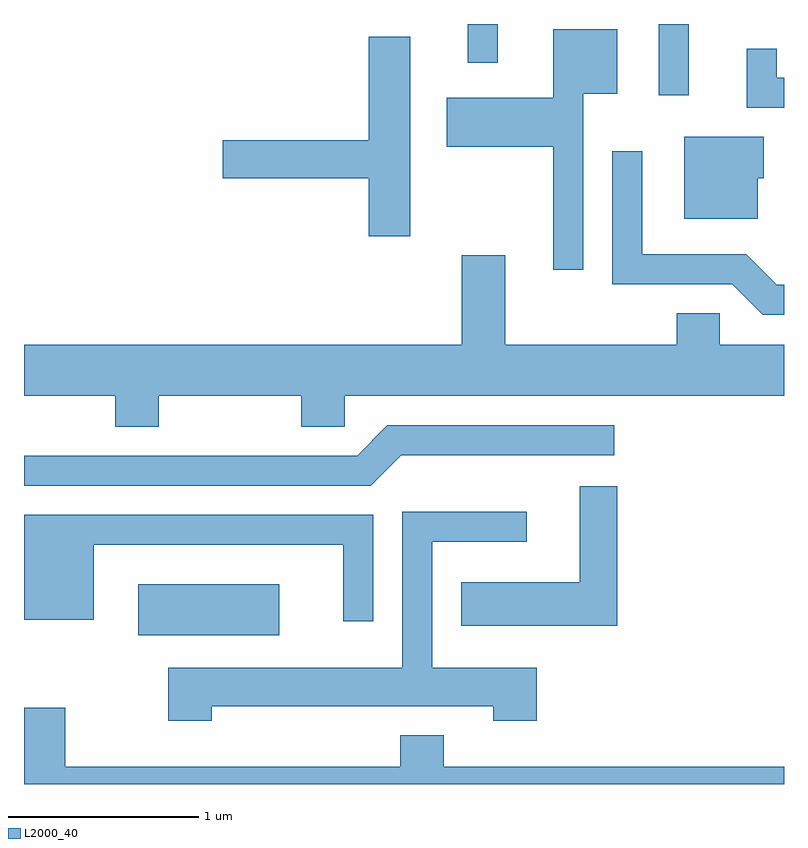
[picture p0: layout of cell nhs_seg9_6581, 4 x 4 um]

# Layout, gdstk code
import gdstk
lib = gdstk.Library(unit=1e-6, precision=1e-09)
def R(c, l, rs):  # rectangles x0, y0, x1, y1
    for r in rs: c.add(gdstk.rectangle(r[:2], r[2:], *l))
def P(c, l, *ps):  # polygons
    for p in ps: c.add(gdstk.Polygon(p, *l))
L2000_40 = (2000, 40)

nhs_seg9_6581 = lib.new_cell('nhs_seg9_6581')
R(nhs_seg9_6581, L2000_40, [(380.211,1997.216,380.954,1997.484), (382.951,2000.058,383.109,2000.432), (381.946,2000.228,382.104,2000.432)])
P(nhs_seg9_6581, L2000_40, [(382.554,2000.066),(382.734,2000.066),(382.734,2000.404),(382.396,2000.404),(382.396,2000.044),(381.836,2000.044),(381.836,1999.786),(382.396,1999.786),(382.396,1999.138),(382.554,1999.138)],
  [(381.644,2000.364),(381.426,2000.364),(381.426,1999.819),(380.656,1999.819),(380.656,1999.621),(381.426,1999.621),(381.426,1999.316),(381.644,1999.316)],
  [(383.611,2000.149),(383.574,2000.149),(383.574,2000.303),(383.416,2000.303),(383.416,1999.991),(383.611,1999.991)],
  [(383.474,1999.621),(383.504,1999.621),(383.504,1999.839),(383.086,1999.839),(383.086,1999.406),(383.474,1999.406)],
  [(383.611,1999.059),(383.572,1999.059),(383.412,1999.219),(382.864,1999.219),(382.864,1999.763),(382.706,1999.763),(382.706,1999.061),(383.339,1999.061),(383.499,1998.901),(383.611,1998.901)],
  [(380.319,1998.476),(381.071,1998.476),(381.071,1998.311),(381.299,1998.311),(381.299,1998.476),(383.611,1998.476),(383.611,1998.744),(383.274,1998.744),(383.274,1998.909),(383.046,1998.909),(383.046,1998.744),(382.144,1998.744),(382.144,1999.214),(381.916,1999.214),(381.916,1998.744),(379.611,1998.744),(379.611,1998.476),(380.091,1998.476),(380.091,1998.311),(380.319,1998.311)],
  [(381.597,1998.161),(382.718,1998.161),(382.718,1998.319),(381.524,1998.319),(381.364,1998.159),(379.611,1998.159),(379.611,1998.001),(381.437,1998.001)],
  [(382.734,1997.999),(382.536,1997.999),(382.536,1997.494),(381.911,1997.494),(381.911,1997.266),(382.734,1997.266)],
  [(380.599,1996.841),(382.081,1996.841),(382.081,1996.766),(382.309,1996.766),(382.309,1997.044),(381.759,1997.044),(381.759,1997.706),(382.258,1997.706),(382.258,1997.864),(381.601,1997.864),(381.601,1997.044),(380.371,1997.044),(380.371,1996.766),(380.599,1996.766)],
  [(381.449,1997.849),(379.611,1997.849),(379.611,1997.296),(379.979,1997.296),(379.979,1997.691),(381.291,1997.691),(381.291,1997.288),(381.449,1997.288)],
  [(383.611,1996.524),(381.819,1996.524),(381.819,1996.689),(381.591,1996.689),(381.591,1996.524),(379.829,1996.524),(379.829,1996.834),(379.611,1996.834),(379.611,1996.432),(383.611,1996.432)])

lib.write_gds('nhs_seg9_6581.gds')
